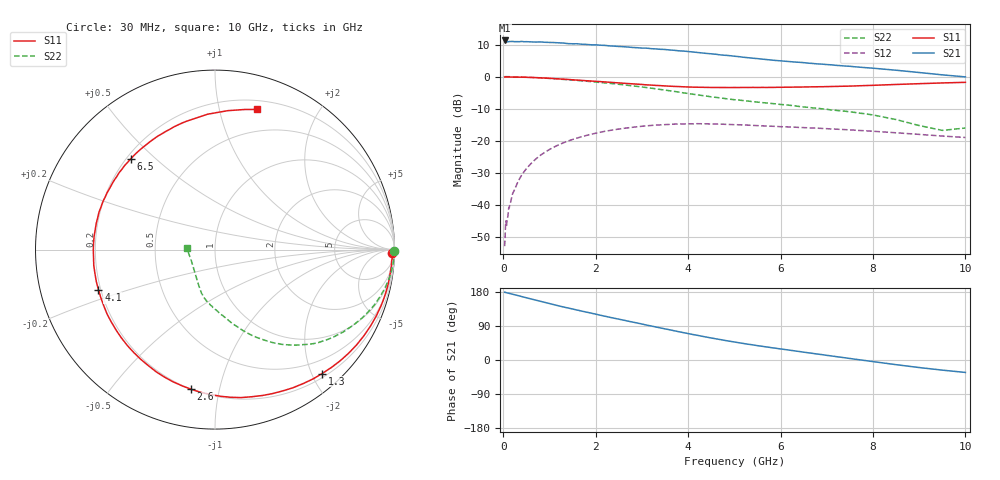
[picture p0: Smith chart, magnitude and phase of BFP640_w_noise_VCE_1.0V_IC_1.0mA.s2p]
! Infineon Technologies  Discrete & RF Semiconductors
! BFP640
! VCE =  1.0 V,  IC =  1.0 mA
! Common Emitter S-Parameters:  Apr 2013
# GHz  S  MA  R  50
!  f  S11  S21  S12  S22
! GHz  MAG  ANG  MAG  ANG  MAG  ANG  MAG  ANG
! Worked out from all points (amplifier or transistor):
!   99 points, 30 MHz to 10 GHz, reference 50 ohm
!   highest |S21| = 11.3 dB at 30 MHz (marker M1)
!   |S21| within 3 dB of that: start of sweep to 3.64 GHz
!   unconditionally stable (mu >= 1): 7.333 GHz to end of sweep
!   at 350 MHz: K = 0.01, MSG = 21.4 dB, |S12| = -31.9 dB
!   at 3.5 GHz: K = 0.43, MSG = 11.7 dB, |S12| = -14.9 dB
!   at 10 GHz: K = 1.40, MAG = 5.7 dB, |S12| = -18.9 dB
!   lowest NFmin = 0.65 dB at 450 MHz
!   S11 on the Smith chart (normalised r, x): 30 MHz: 48, -73; 1.3 GHz: 0.26, -2.16; 2.6 GHz: 0.20, -0.82; 4.1 GHz: 0.19, -0.16; 6.5 GHz: 0.22, +0.42; 10 GHz: 0.28, +1.31
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0.03  0.9874 -1.1  3.657 178.8  0.0023 91.7  0.9993 -0.6
0.04  0.9881 -1.5  3.463 178.4  0.003 90.8  0.9994 -0.8
0.05  0.9894 -1.9  3.454 178.5  0.005 82.3  0.9983 -1.2
0.06  0.9882 -2.2  3.469 177.9  0.0057 84.8  0.9982 -1.3
0.07  0.9874 -2.6  3.459 177.6  0.0046 85.6  0.9999 -1.4
0.12  0.9864 -4.5  3.511 176.1  0.0092 88.5  0.9985 -2.5
0.35  0.9824 -13.0  3.496 169.1  0.0255 82.9  0.9899 -7.1
0.8  0.9583 -30.2  3.471 155.0  0.0594 71.6  0.9573 -15.7
1.3  0.9127 -49.2  3.332 140.0  0.0933 58.4  0.9058 -24.6
1.7  0.8733 -64.3  3.193 129.0  0.1163 48.7  0.8603 -31.0
2.2  0.8272 -84.0  3.061 115.5  0.1411 37.1  0.7994 -39.0
2.6  0.7894 -99.7  2.923 105.2  0.1565 28.5  0.7462 -44.9
3.1  0.7452 -120.1  2.778 92.2  0.1714 18.3  0.676 -51.8
3.4  0.7242 -132.3  2.664 84.7  0.1776 12.1  0.6313 -56.1
4.1  0.6867 -161.0  2.422 67.4  0.1842 -1.0  0.5329 -65.4
4.6  0.678 -179.8  2.231 55.9  0.1828 -9.5  0.4757 -71.1
5.1  0.6772 164.7  2.047 45.5  0.1782 -16.6  0.4314 -75.8
6.5  0.6901 132.8  1.652 20.7  0.161 -31.2  0.3374 -88.8
6.7  0.694 128.9  1.604 17.4  0.1585 -32.9  0.326 -90.9
8.5  0.7555 93.1  1.258 -12.3  0.1337 -45.8  0.2148 -115.5
9.5  0.7981 78.0  1.066 -26.7  0.119 -49.3  0.1458 -154.6
10  0.8156 73.2  0.991 -32.8  0.113 -49.1  0.1586 176.1
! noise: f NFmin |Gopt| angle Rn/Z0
0.45  0.65  0.65  13  0.46
0.9  0.72  0.66  25  0.45
1.5  0.9  0.57  42  0.42
1.9  0.97  0.53  56  0.41
2.4  1.04  0.5  66  0.39
3.5  1.24  0.43  95  0.34
5.5  1.75  0.38  -177  0.34
10  3.04  0.68  -70  1.23
